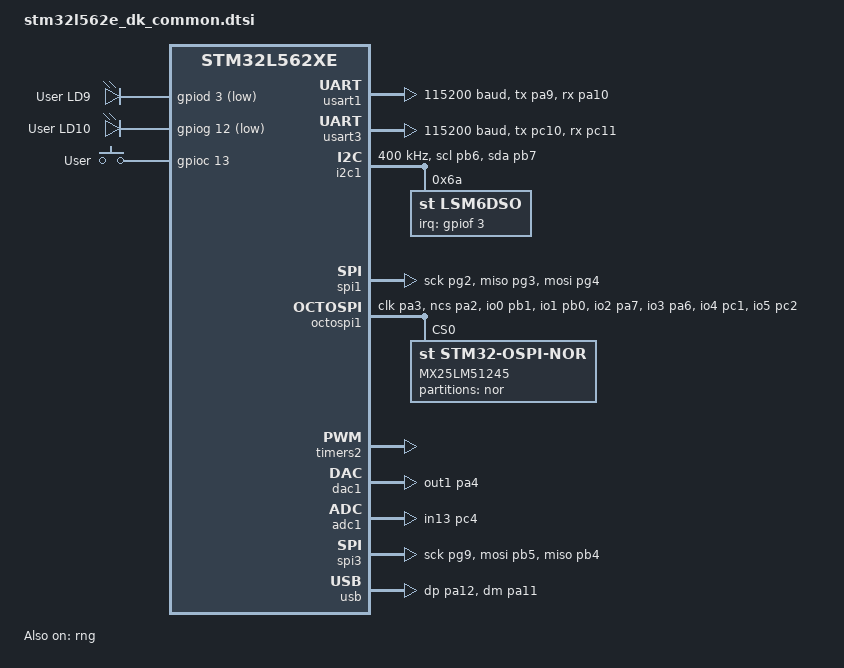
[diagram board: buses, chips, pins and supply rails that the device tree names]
/*
 * Copyright (c) 2020 Yestin Sun
 *
 * SPDX-License-Identifier: Apache-2.0
 */

#include <st/l5/stm32l562Xe.dtsi>
#include <st/l5/stm32l562qeixq-pinctrl.dtsi>
#include "arduino_r3_connector.dtsi"

/ {
	leds {
		compatible = "gpio-leds";
		red_led_9: led_9 {
			gpios = <&gpiod 3 GPIO_ACTIVE_LOW>;
			label = "User LD9";
		};
		green_led_10: led_10 {
			gpios = <&gpiog 12 GPIO_ACTIVE_LOW>;
			label = "User LD10";
		};
	};

	gpio_keys {
		compatible = "gpio-keys";
		user_button: button {
			label = "User";
			gpios = <&gpioc 13 GPIO_ACTIVE_HIGH>;
		};
	};

	power-states {
		stop0: state0 {
			compatible = "zephyr,power-state";
			power-state-name = "suspend-to-idle";
			substate-id = <1>;
			min-residency-us = <100>;
		};
		stop1: state1 {
			compatible = "zephyr,power-state";
			power-state-name = "suspend-to-idle";
			substate-id = <2>;
			min-residency-us = <500>;
		};
		stop2: state2 {
			compatible = "zephyr,power-state";
			power-state-name = "suspend-to-idle";
			substate-id = <3>;
			min-residency-us = <900>;
		};
	};

	aliases {
		spi-flash0 = &mx25lm51245;
	};
};

&clk_msi {
	status = "okay";
	msi-range = <6>;
	msi-pll-mode;
};

&clk_lse {
	status = "okay";
};

&pll {
	div-m = <1>;
	mul-n = <55>;
	div-p = <7>;
	div-q = <2>;
	div-r = <2>;
	clocks = <&clk_msi>;
	status = "okay";
};

&rcc {
	clocks = <&pll>;
	clock-frequency = <DT_FREQ_M(110)>;
	ahb-prescaler = <1>;
	apb1-prescaler = <1>;
	apb2-prescaler = <1>;
};

&usart1 {
	current-speed = <115200>;
	pinctrl-0 = <&usart1_tx_pa9 &usart1_rx_pa10>;
	pinctrl-names = "default";
	status = "okay";
};

&usart3 {
	pinctrl-0 = <&usart3_tx_pc10 &usart3_rx_pc11>;
	pinctrl-names = "default";
	current-speed = <115200>;
	status = "okay";
};

&i2c1 {
	pinctrl-0 = <&i2c1_scl_pb6 &i2c1_sda_pb7>;
	pinctrl-names = "default";
	status = "okay";
	clock-frequency = <I2C_BITRATE_FAST>;

	lsm6dso@6a {
		compatible = "st,lsm6dso";
		reg = <0x6a>;
		irq-gpios = <&gpiof 3 GPIO_ACTIVE_HIGH>;
		label = "LSM6DSO";
	};
};

&rng {
	status = "okay";
};

&spi1 {
	pinctrl-0 = <&spi1_sck_pg2 &spi1_miso_pg3 &spi1_mosi_pg4>;
	pinctrl-names = "default";
	cs-gpios = <&gpiog 5 (GPIO_ACTIVE_HIGH | GPIO_PULL_UP)>;
	status = "okay";

	spbtle-rf@0 {
		compatible = "zephyr,bt-hci-spi";
		reg = <0>;
		irq-gpios = <&gpiog 6 (GPIO_ACTIVE_HIGH | GPIO_PULL_DOWN)>;
		reset-gpios = <&gpiog 8 (GPIO_ACTIVE_LOW | GPIO_PULL_UP)>;
		spi-max-frequency = <2000000>;
		label = "SPBTLE-RF";
	};
};

&octospi1 {
	pinctrl-0 = <&octospi1_clk_pa3 &octospi1_ncs_pa2
		     &octospi1_io0_pb1 &octospi1_io1_pb0
		     &octospi1_io2_pa7 &octospi1_io3_pa6
		     &octospi1_io4_pc1 &octospi1_io5_pc2
		     &octospi1_io6_pc3 &octospi1_io7_pc0
		     &octospi1_dqs_pb2>;
	pinctrl-names = "default";

	status = "okay";

	mx25lm51245: ospi-nor-flash@0 {
		compatible = "st,stm32-ospi-nor";
		label = "MX25LM51245";
		reg = <0>;
		ospi-max-frequency = <DT_FREQ_M(50)>;
		size = <DT_SIZE_M(64)>;
		spi-bus-width = <OSPI_OPI_MODE>;
		data-rate = <OSPI_DTR_TRANSFER>;
		status = "okay";
		sfdp-bfp = [
			53 46 44 50 06 01 02 ff
			00 06 01 10 30 00 00 ff
			C2 00 01 04 10 01 00 ff
			84 00 01 02 C0 00 00 ff
			00 00 00 00
		];

		partitions {
			   compatible = "fixed-partitions";
			   #address-cells = <1>;
			   #size-cells = <1>;

			   partition@0 {
			       label = "nor";
			       reg = <0x00000000 DT_SIZE_M(4)>;
			   };
		};
	};
};

&timers2 {
	status = "okay";

	pwm2: pwm {
		status = "okay";
		pinctrl-0 = <&tim2_ch1_pa0>;
		pinctrl-names = "default";
	};
};

&dac1 {
	status = "okay";
	pinctrl-0 = <&dac1_out1_pa4>;
	pinctrl-names = "default";
};

&adc1 {
	pinctrl-0 = <&adc1_in13_pc4>;
	pinctrl-names = "default";
	status = "okay";
};

&spi3 {
	pinctrl-0 = <&spi3_sck_pg9 &spi3_mosi_pb5 &spi3_miso_pb4>;
	pinctrl-names = "default";
	cs-gpios = <&gpioe 0 (GPIO_ACTIVE_LOW | GPIO_PULL_UP)>;
	status = "okay";
};

zephyr_udc0: &usb {
	pinctrl-0 = <&usb_dp_pa12 &usb_dm_pa11>;
	pinctrl-names = "default";
	status = "okay";
};
